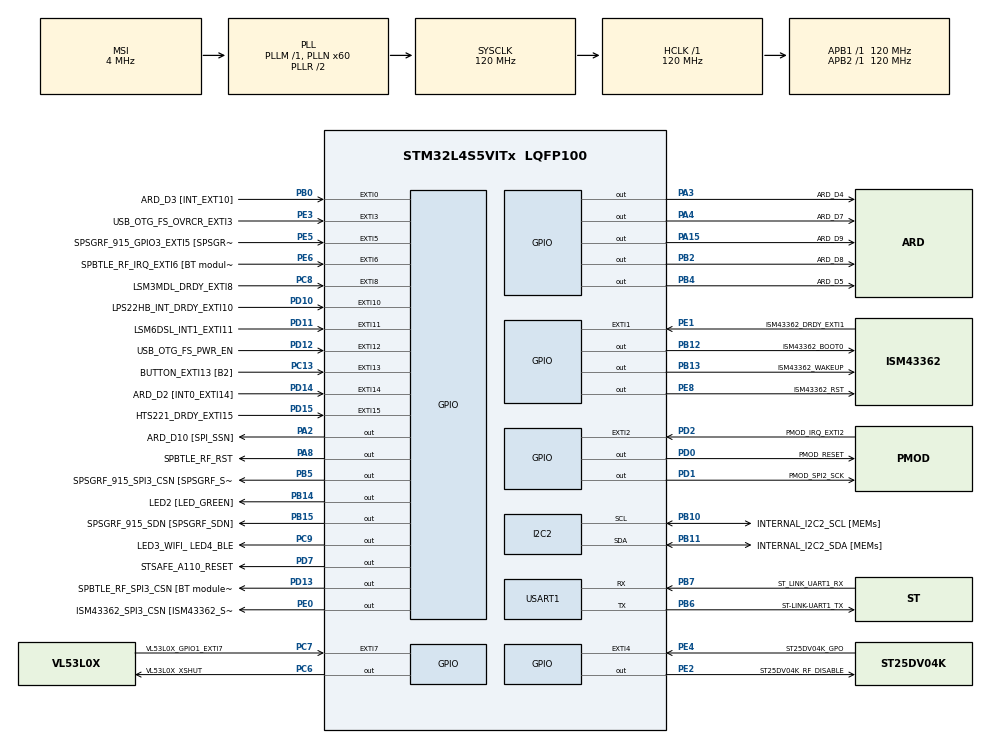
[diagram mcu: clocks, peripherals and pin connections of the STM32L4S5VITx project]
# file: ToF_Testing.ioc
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I2C2.Timing=0x307075B1
Mcu.Family=STM32L4
Mcu.Name=STM32L4S5VITx
Mcu.Package=LQFP100
NVIC.EXTI15_10_IRQn=true\:0\:0\:false\:false\:true\:true\:true\:true
NVIC.EXTI9_5_IRQn=true\:0\:0\:false\:false\:true\:true\:true\:true
NVIC.PriorityGroup=NVIC_PRIORITYGROUP_4
NVIC.USART1_IRQn=true\:0\:0\:false\:false\:true\:true\:true\:true
PA0.GPIO_Label=ARD_D1 [UART4_TX]
PA0.GPIO_ModeDefaultPP=GPIO_MODE_AF_PP
PA0.GPIO_PuPd=GPIO_NOPULL
PA0.GPIO_Speed=GPIO_SPEED_FREQ_VERY_HIGH
PA0.Signal=UART4_TX
PA1.GPIO_Label=ARD_D0 [UART4_RX]
PA1.GPIO_ModeDefaultPP=GPIO_MODE_AF_PP
PA1.GPIO_PuPd=GPIO_NOPULL
PA1.GPIO_Speed=GPIO_SPEED_FREQ_VERY_HIGH
PA1.Signal=UART4_RX
PA13\ (JTMS/SWDIO).GPIO_Label=SYS_JTMS_SWDIO
PA13\ (JTMS/SWDIO).Signal=SYS_JTMS-SWDIO
PA14\ (JTCK/SWCLK).GPIO_Label=SYS_JTCK_SWCLK
PA14\ (JTCK/SWCLK).Signal=SYS_JTCK-SWCLK
PA15\ (JTDI).GPIO_Label=ARD_D9
PA15\ (JTDI).GPIO_ModeDefaultOutputPP=GPIO_MODE_OUTPUT_PP
PA15\ (JTDI).GPIO_PuPd=GPIO_NOPULL
PA15\ (JTDI).GPIO_Speed=GPIO_SPEED_FREQ_LOW
PA15\ (JTDI).PinState=GPIO_PIN_RESET
PA15\ (JTDI).Signal=GPIO_Output
PA2.GPIO_Label=ARD_D10 [SPI_SSN]
PA2.GPIO_ModeDefaultOutputPP=GPIO_MODE_OUTPUT_PP
PA2.GPIO_PuPd=GPIO_NOPULL
PA2.GPIO_Speed=GPIO_SPEED_FREQ_LOW
PA2.PinState=GPIO_PIN_RESET
PA2.Signal=GPIO_Output
PA3.GPIO_Label=ARD_D4
PA3.Signal=GPIO_Output
PA4.GPIO_Label=ARD_D7
PA4.Signal=GPIO_Output
PA5.GPIO_Label=ARD_D13 [SPI1_SCK/LED1]
PA5.GPIO_Mode=GPIO_MODE_AF_PP
PA5.GPIO_PuPd=GPIO_NOPULL
PA5.GPIO_Speed=GPIO_SPEED_FREQ_VERY_HIGH
PA5.Signal=SPI1_SCK
PA6.GPIO_Label=ARD_D12 [SPI1_MISO]
PA6.GPIO_Mode=GPIO_MODE_AF_PP
PA6.GPIO_PuPd=GPIO_NOPULL
PA6.GPIO_Speed=GPIO_SPEED_FREQ_VERY_HIGH
PA6.Signal=SPI1_MISO
PA7.GPIO_Label=ARD_D11 [SPI1_MOSI]
PA7.GPIO_Mode=GPIO_MODE_AF_PP
PA7.GPIO_PuPd=GPIO_NOPULL
PA7.GPIO_Speed=GPIO_SPEED_FREQ_VERY_HIGH
PA7.Signal=SPI1_MOSI
PA8.GPIO_Label=SPBTLE_RF_RST
PA8.GPIO_ModeDefaultOutputPP=GPIO_MODE_OUTPUT_PP
PA8.GPIO_PuPd=GPIO_NOPULL
PA8.GPIO_Speed=GPIO_SPEED_FREQ_LOW
PA8.PinState=GPIO_PIN_RESET
PA8.Signal=GPIO_Output
PA9.GPIO_Label=USB_OTG_FS_VBUS
PA9.GPIO_Mode=GPIO_MODE_INPUT
PA9.GPIO_PuPd=GPIO_NOPULL
PA9.Signal=USB_OTG_FS_VBUS
PB0.GPIO_Label=ARD_D3 [INT_EXT10]
PB0.GPIO_ModeDefaultEXTI=GPIO_MODE_IT_RISING
PB0.GPIO_PuPd=GPIO_NOPULL
PB0.Signal=GPXTI0
PB1.GPIO_Label=ARD_D6
PB1.GPIO_Speed=GPIO_SPEED_FREQ_LOW
PB1.Signal=S_TIM3_CH4
PB10.GPIO_Label=INTERNAL_I2C2_SCL [MEMs]
PB10.GPIO_Mode=GPIO_MODE_AF_OD
PB10.GPIO_PuPdOD=GPIO_PULLUP
PB10.GPIO_Speed=GPIO_SPEED_FREQ_VERY_HIGH
PB10.Mode=I2C
PB10.Signal=I2C2_SCL
PB11.GPIO_Label=INTERNAL_I2C2_SDA [MEMs]
PB11.GPIO_Mode=GPIO_MODE_AF_OD
PB11.GPIO_PuPdOD=GPIO_PULLUP
PB11.GPIO_Speed=GPIO_SPEED_FREQ_VERY_HIGH
PB11.Mode=I2C
PB11.Signal=I2C2_SDA
PB12.GPIO_Label=ISM43362_BOOT0
PB12.GPIO_ModeDefaultOutputPP=GPIO_MODE_OUTPUT_PP
PB12.GPIO_PuPd=GPIO_NOPULL
PB12.GPIO_Speed=GPIO_SPEED_FREQ_LOW
PB12.PinState=GPIO_PIN_RESET
PB12.Signal=GPIO_Output
PB13.GPIO_Label=ISM43362_WAKEUP
PB13.GPIO_ModeDefaultOutputPP=GPIO_MODE_OUTPUT_PP
PB13.GPIO_PuPd=GPIO_NOPULL
PB13.GPIO_Speed=GPIO_SPEED_FREQ_LOW
PB13.PinState=GPIO_PIN_RESET
PB13.Signal=GPIO_Output
PB14.GPIO_Label=LED2 [LED_GREEN]
PB14.GPIO_ModeDefaultOutputPP=GPIO_MODE_OUTPUT_PP
PB14.GPIO_PuPd=GPIO_NOPULL
PB14.GPIO_Speed=GPIO_SPEED_FREQ_LOW
PB14.PinState=GPIO_PIN_RESET
PB14.Signal=GPIO_Output
PB15.GPIO_Label=SPSGRF_915_SDN [SPSGRF_SDN]
PB15.Signal=GPIO_Output
PB2.GPIO_Label=ARD_D8
PB2.GPIO_ModeDefaultOutputPP=GPIO_MODE_OUTPUT_PP
PB2.GPIO_PuPd=GPIO_NOPULL
PB2.GPIO_Speed=GPIO_SPEED_FREQ_LOW
PB2.PinState=GPIO_PIN_RESET
PB2.Signal=GPIO_Output
PB3\ (JTDO/TRACESWO).GPIO_Label=SYS_JTD0_SWO
PB3\ (JTDO/TRACESWO).Signal=SYS_JTDO-SWO
PB4\ (NJTRST).GPIO_Label=ARD_D5
PB4\ (NJTRST).GPIO_ModeDefaultOutputPP=GPIO_MODE_OUTPUT_PP
PB4\ (NJTRST).GPIO_PuPd=GPIO_NOPULL
PB4\ (NJTRST).GPIO_Speed=GPIO_SPEED_FREQ_LOW
PB4\ (NJTRST).PinState=GPIO_PIN_RESET
PB4\ (NJTRST).Signal=GPIO_Output
PB5.GPIO_Label=SPSGRF_915_SPI3_CSN [SPSGRF_SPI_CS]
PB5.Signal=GPIO_Output
PB6.GPIO_FM6=__NULL
PB6.GPIO_Label=ST-LINK-UART1_TX
PB6.GPIO_ModeDefaultPP=GPIO_MODE_AF_PP
PB6.GPIO_PuPd=GPIO_NOPULL
PB6.GPIO_Speed=GPIO_SPEED_FREQ_VERY_HIGH
PB6.Mode=Asynchronous
PB6.Signal=USART1_TX
PB7.GPIO_FM7=__NULL
PB7.GPIO_Label=ST_LINK_UART1_RX
PB7.GPIO_ModeDefaultPP=GPIO_MODE_AF_PP
PB7.GPIO_PuPd=GPIO_NOPULL
PB7.GPIO_Speed=GPIO_SPEED_FREQ_VERY_HIGH
PB7.Mode=Asynchronous
PB7.Signal=USART1_RX
PB8.GPIO_FM8=__NULL
PB8.GPIO_Label=ARD_D15 [I2C1_SCL]
PB8.GPIO_Mode=GPIO_MODE_AF_OD
PB8.GPIO_PuPdOD=GPIO_PULLUP
PB8.GPIO_Speed=GPIO_SPEED_FREQ_VERY_HIGH
PB8.Signal=I2C1_SCL
PB9.GPIO_FM9=__NULL
PB9.GPIO_Label=ARD_D14 [I2C1_SDA]
PB9.GPIO_Mode=GPIO_MODE_AF_OD
PB9.GPIO_PuPdOD=GPIO_PULLUP
PB9.GPIO_Speed=GPIO_SPEED_FREQ_VERY_HIGH
PB9.Signal=I2C1_SDA
PC0.GPIO_Label=ARD_A5 [ADC]
PC0.GPIO_Mode=GPIO_MODE_ANALOG_ADC_CONTROL
PC0.GPIO_PuPd=GPIO_NOPULL
PC0.Signal=ADCx_IN1
PC1.GPIO_Label=ARD_A4 [ADC]
PC1.GPIO_Mode=GPIO_MODE_ANALOG_ADC_CONTROL
PC1.GPIO_PuPd=GPIO_NOPULL
PC1.Signal=ADCx_IN2
PC10.GPIO_Label=INTERNAL-SPI3_SCK [BT module_SPI_MOSI] [ISM43362_MOSI]
PC10.GPIO_Mode=GPIO_MODE_AF_PP
PC10.GPIO_PuPd=GPIO_NOPULL
PC10.GPIO_Speed=GPIO_SPEED_FREQ_VERY_HIGH
PC10.Signal=SPI3_SCK
PC11.GPIO_Label=INTERNAL_SPI3_MISO [BT module_SPI_MOSI] [ISM43362_MOSI]
PC11.GPIO_Mode=GPIO_MODE_AF_PP
PC11.GPIO_PuPd=GPIO_NOPULL
PC11.GPIO_Speed=GPIO_SPEED_FREQ_VERY_HIGH
PC11.Signal=SPI3_MISO
PC12.GPIO_Label=INTERNAL_SPI3_MOSI [BT module_SPI_MOSI] [ISM43362_MOSI]
PC12.GPIO_Mode=GPIO_MODE_AF_PP
PC12.GPIO_PuPd=GPIO_NOPULL
PC12.GPIO_Speed=GPIO_SPEED_FREQ_VERY_HIGH
PC12.Signal=SPI3_MOSI
PC13.GPIO_Label=BUTTON_EXTI13 [B2]
PC13.GPIO_ModeDefaultEXTI=GPIO_MODE_IT_RISING
PC13.GPIO_PuPd=GPIO_NOPULL
PC13.Signal=GPXTI13
PC2.GPIO_Label=ARD_A3 [ADC]
PC2.GPIO_Mode=GPIO_MODE_ANALOG_ADC_CONTROL
PC2.GPIO_PuPd=GPIO_NOPULL
PC2.Signal=ADCx_IN3
PC3.GPIO_Label=ARD_A2 [ADC]
PC3.GPIO_Mode=GPIO_MODE_ANALOG_ADC_CONTROL
PC3.GPIO_PuPd=GPIO_NOPULL
PC3.Signal=ADCx_IN4
PC4.GPIO_Label=ARD_A1 [ADC]
PC4.GPIO_Mode=GPIO_MODE_ANALOG_ADC_CONTROL
PC4.GPIO_PuPd=GPIO_NOPULL
PC4.Signal=ADCx_IN13
PC5.GPIO_Label=ARD_A0 [ADC]
PC5.GPIO_Mode=GPIO_MODE_ANALOG_ADC_CONTROL
PC5.GPIO_PuPd=GPIO_NOPULL
PC5.Signal=ADCx_IN14
PC6.GPIO_Label=VL53L0X_XSHUT
PC6.GPIO_ModeDefaultOutputPP=GPIO_MODE_OUTPUT_PP
PC6.GPIO_PuPd=GPIO_NOPULL
PC6.GPIO_Speed=GPIO_SPEED_FREQ_LOW
PC6.PinState=GPIO_PIN_RESET
PC6.Signal=GPIO_Output
PC7.GPIO_Label=VL53L0X_GPIO1_EXTI7
PC7.GPIO_ModeDefaultEXTI=GPIO_MODE_IT_RISING
PC7.GPIO_PuPd=GPIO_NOPULL
PC7.Signal=GPXTI7
PC8.GPIO_Label=LSM3MDL_DRDY_EXTI8
PC8.GPIO_ModeDefaultEXTI=GPIO_MODE_IT_RISING
PC8.GPIO_PuPd=GPIO_NOPULL
PC8.Signal=GPXTI8
PC9.GPIO_Label=LED3_WIFI_ LED4_BLE
PC9.GPIO_ModeDefaultOutputPP=GPIO_MODE_OUTPUT_PP
PC9.GPIO_PuPd=GPIO_NOPULL
PC9.GPIO_Speed=GPIO_SPEED_FREQ_LOW
PC9.PinState=GPIO_PIN_RESET
PC9.Signal=GPIO_Output
PD0.GPIO_Label=PMOD_RESET
PD0.GPIO_ModeDefaultOutputPP=GPIO_MODE_OUTPUT_PP
PD0.GPIO_PuPd=GPIO_NOPULL
PD0.GPIO_Speed=GPIO_SPEED_FREQ_LOW
PD0.PinState=GPIO_PIN_RESET
PD0.Signal=GPIO_Output
PD1.GPIO_Label=PMOD_SPI2_SCK
PD1.Signal=GPIO_Output
PD10.GPIO_Label=LPS22HB_INT_DRDY_EXTI10
PD10.GPIO_ModeDefaultEXTI=GPIO_MODE_IT_RISING
PD10.GPIO_PuPd=GPIO_NOPULL
PD10.Signal=GPXTI10
PD11.GPIO_Label=LSM6DSL_INT1_EXTI11
PD11.GPIO_ModeDefaultEXTI=GPIO_MODE_IT_RISING
PD11.GPIO_PuPd=GPIO_NOPULL
PD11.Signal=GPXTI11
PD12.GPIO_Label=USB_OTG_FS_PWR_EN
PD12.GPIO_ModeDefaultEXTI=GPIO_MODE_IT_RISING
PD12.GPIO_PuPd=GPIO_NOPULL
PD12.Signal=GPXTI12
PD13.GPIO_Label=SPBTLE_RF_SPI3_CSN [BT module_SPI_CS]
PD13.GPIO_ModeDefaultOutputPP=GPIO_MODE_OUTPUT_PP
PD13.GPIO_PuPd=GPIO_NOPULL
PD13.GPIO_Speed=GPIO_SPEED_FREQ_LOW
PD13.PinState=GPIO_PIN_RESET
PD13.Signal=GPIO_Output
PD14.GPIO_Label=ARD_D2 [INT0_EXTI14]
PD14.GPIO_ModeDefaultEXTI=GPIO_MODE_IT_RISING
PD14.GPIO_PuPd=GPIO_NOPULL
PD14.Signal=GPXTI14
PD15.GPIO_Label=HTS221_DRDY_EXTI15
PD15.GPIO_ModeDefaultEXTI=GPIO_MODE_IT_RISING
PD15.GPIO_PuPd=GPIO_NOPULL
PD15.Signal=GPXTI15
PD2.GPIO_Label=PMOD_IRQ_EXTI2
PD2.GPIO_ModeDefaultEXTI=GPIO_MODE_IT_RISING
PD2.GPIO_PuPd=GPIO_NOPULL
PD2.Signal=GPXTI2
PD3.GPIO_Label=PMOD_UART2_CTS
PD3.GPIO_Mode=GPIO_MODE_AF_PP
PD3.GPIO_PuPd=GPIO_NOPULL
PD3.GPIO_Speed=GPIO_SPEED_FREQ_VERY_HIGH
PD3.Signal=USART2_CTS
PD4.GPIO_Label=PMOD_UART2_RTS
PD4.GPIO_Mode=GPIO_MODE_AF_PP
PD4.GPIO_PuPd=GPIO_NOPULL
PD4.GPIO_Speed=GPIO_SPEED_FREQ_VERY_HIGH
PD4.Signal=USART2_RTS
PD5.GPIO_Label=PMOD_UART2_TX
PD5.GPIO_ModeDefaultPP=GPIO_MODE_AF_PP
PD5.GPIO_PuPd=GPIO_NOPULL
PD5.GPIO_Speed=GPIO_SPEED_FREQ_VERY_HIGH
PD5.Signal=USART2_TX
PD6.GPIO_Label=PMOD_UART2_RX
PD6.GPIO_ModeDefaultPP=GPIO_MODE_AF_PP
PD6.GPIO_PuPd=GPIO_NOPULL
PD6.GPIO_Speed=GPIO_SPEED_FREQ_VERY_HIGH
PD6.Signal=USART2_RX
PD7.GPIO_Label=STSAFE_A110_RESET
PD7.GPIO_ModeDefaultOutputPP=GPIO_MODE_OUTPUT_PP
PD7.GPIO_PuPd=GPIO_NOPULL
PD7.GPIO_Speed=GPIO_SPEED_FREQ_LOW
PD7.PinState=GPIO_PIN_RESET
PD7.Signal=GPIO_Output
PD8.GPIO_Label=INTERNAL_UART3_TX [ISM43362_RX]
PD8.GPIO_ModeDefaultPP=GPIO_MODE_AF_PP
PD8.GPIO_PuPd=GPIO_NOPULL
PD8.GPIO_Speed=GPIO_SPEED_FREQ_VERY_HIGH
PD8.Signal=USART3_TX
PD9.GPIO_Label=INTERNAL_UART3_RX [ISM43362_TX]
PD9.GPIO_ModeDefaultPP=GPIO_MODE_AF_PP
PD9.GPIO_PuPd=GPIO_NOPULL
PD9.GPIO_Speed=GPIO_SPEED_FREQ_VERY_HIGH
PD9.Signal=USART3_RX
PE0.GPIO_Label=ISM43362_SPI3_CSN [ISM43362_SSN]
PE0.GPIO_ModeDefaultOutputPP=GPIO_MODE_OUTPUT_PP
PE0.GPIO_PuPd=GPIO_NOPULL
PE0.GPIO_Speed=GPIO_SPEED_FREQ_LOW
PE0.PinState=GPIO_PIN_RESET
PE0.Signal=GPIO_Output
PE1.GPIO_Label=ISM43362_DRDY_EXTI1
PE1.GPIO_ModeDefaultEXTI=GPIO_MODE_IT_RISING
PE1.GPIO_PuPd=GPIO_NOPULL
PE1.Signal=GPXTI1
PE10.GPIO_Label=QUADSPI_CLK [MX25R6435F_SCLK]
PE10.GPIO_Mode=GPIO_MODE_AF_PP
PE10.GPIO_PuPd=GPIO_NOPULL
PE10.GPIO_Speed_High_Default=GPIO_SPEED_FREQ_VERY_HIGH
PE10.Signal=OCTOSPIM_P1_CLK
PE11.GPIO_Label=QUADSPI_NCS [MX25R6435F_SCLK]
PE11.GPIO_Mode=GPIO_MODE_AF_PP
PE11.GPIO_PuPd=GPIO_NOPULL
PE11.GPIO_Speed_High_Default=GPIO_SPEED_FREQ_VERY_HIGH
PE11.Signal=OCTOSPIM_P1_NCS
PE12.GPIO_Label=OQUADSPI_BK1_IO0 [MX25R6435F_IO0]
PE12.GPIO_Mode=GPIO_MODE_AF_PP
PE12.GPIO_PuPd=GPIO_NOPULL
PE12.GPIO_Speed_High_Default=GPIO_SPEED_FREQ_VERY_HIGH
PE12.Signal=OCTOSPIM_P1_IO0
PE13.GPIO_Label=QUADSPI_BK1_IO1 [MX25R6435F_IO1]
PE13.GPIO_Mode=GPIO_MODE_AF_PP
PE13.GPIO_PuPd=GPIO_NOPULL
PE13.GPIO_Speed_High_Default=GPIO_SPEED_FREQ_VERY_HIGH
PE13.Signal=OCTOSPIM_P1_IO1
PE14.GPIO_Label=QUAD_SPI_BK1_IO2 [MX25R6435F_IO2]
PE14.GPIO_Mode=GPIO_MODE_AF_PP
PE14.GPIO_PuPd=GPIO_NOPULL
PE14.GPIO_Speed_High_Default=GPIO_SPEED_FREQ_VERY_HIGH
PE14.Signal=OCTOSPIM_P1_IO2
PE15.GPIO_Label=QUAD_SPI_BK1_IO3 [MX25R6435F_IO3]
PE15.GPIO_Mode=GPIO_MODE_AF_PP
PE15.GPIO_PuPd=GPIO_NOPULL
PE15.GPIO_Speed_High_Default=GPIO_SPEED_FREQ_VERY_HIGH
PE15.Signal=OCTOSPIM_P1_IO3
PE2.GPIO_Label=ST25DV04K_RF_DISABLE
PE2.GPIO_ModeDefaultOutputPP=GPIO_MODE_OUTPUT_PP
PE2.GPIO_PuPd=GPIO_NOPULL
PE2.GPIO_Speed=GPIO_SPEED_FREQ_LOW
PE2.PinState=GPIO_PIN_RESET
PE2.Signal=GPIO_Output
PE3.GPIO_Label=USB_OTG_FS_OVRCR_EXTI3
PE3.GPIO_ModeDefaultEXTI=GPIO_MODE_IT_RISING
PE3.GPIO_PuPd=GPIO_NOPULL
PE3.Signal=GPXTI3
PE4.GPIO_Label=ST25DV04K_GPO
PE4.GPIO_ModeDefaultEXTI=GPIO_MODE_IT_RISING
PE4.GPIO_PuPd=GPIO_NOPULL
PE4.Signal=GPXTI4
PE5.GPIO_Label=SPSGRF_915_GPIO3_EXTI5 [SPSGRF_GPIO_3]
PE5.Signal=GPXTI5
PE6.GPIO_Label=SPBTLE_RF_IRQ_EXTI6 [BT module_SPI_IRQ]
PE6.GPIO_ModeDefaultEXTI=GPIO_MODE_IT_RISING
PE6.GPIO_PuPd=GPIO_NOPULL
PE6.Signal=GPXTI6
PE7.GPIO_Label=DFSDM1_DATIN2 [MP34DT01_DOUT]
PE7.GPIO_Mode=GPIO_MODE_AF_PP
PE7.GPIO_PuPd=GPIO_NOPULL
PE7.GPIO_Speed=GPIO_SPEED_FREQ_LOW
PE7.Signal=S_DATAIN2DFSDM1
PE8.GPIO_Label=ISM43362_RST
PE8.GPIO_ModeDefaultOutputPP=GPIO_MODE_OUTPUT_PP
PE8.GPIO_PuPd=GPIO_NOPULL
PE8.GPIO_Speed=GPIO_SPEED_FREQ_LOW
PE8.PinState=GPIO_PIN_RESET
PE8.Signal=GPIO_Output
PE9.GPIO_Label=DFSDM1_CKOUT [MP34DT01_CLK]
PE9.GPIO_Mode=GPIO_MODE_AF_PP
PE9.GPIO_PuPd=GPIO_NOPULL
PE9.GPIO_Speed=GPIO_SPEED_FREQ_LOW
PE9.Signal=S_CKOUTDFSDM1
ProjectManager.HeapSize=0x200
ProjectManager.StackSize=0x400
ProjectManager.TargetToolchain=STM32CubeIDE
RCC.ADCFreq_Value=48000000
RCC.AHBFreq_Value=120000000
RCC.APB1Freq_Value=120000000
RCC.APB1TimFreq_Value=120000000
RCC.APB2Freq_Value=120000000
RCC.APB2TimFreq_Value=120000000
RCC.CortexFreq_Value=120000000
RCC.HCLKFreq_Value=120000000
RCC.HSE_VALUE=8000000
RCC.HSI48_VALUE=48000000
RCC.HSI_VALUE=16000000
RCC.LSE_VALUE=32768
RCC.MSI_VALUE=4000000
RCC.PLLN=60
RCC.PLLSAI1N=24
RCC.SYSCLKFreq_VALUE=120000000
RCC.SYSCLKSource=RCC_SYSCLKSOURCE_PLLCLK
RCC.USBFreq_Value=48000000
RCC.VCOOutputFreq_Value=240000000
SH.ADCx_IN1.0=ADC1_IN1
SH.ADCx_IN13.0=ADC1_IN13
SH.ADCx_IN14.0=ADC1_IN14
SH.ADCx_IN2.0=ADC1_IN2
SH.ADCx_IN3.0=ADC1_IN3
SH.ADCx_IN4.0=ADC1_IN4
SH.S_CKOUTDFSDM1.0=DFSDM1_CKOUT
SH.S_DATAIN2DFSDM1.0=DFSDM1_DATIN2
SH.S_TIM3_CH4.0=TIM3_CH4
USART1.VirtualMode-Asynchronous=VM_ASYNC
board=B-L4S5I-IOT01A

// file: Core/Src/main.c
/* USER CODE BEGIN Header */
/**
  ******************************************************************************
  * @file           : main.c
  * @brief          : Main program body
  ******************************************************************************
  * @attention
  *
  * Copyright (c) 2023 STMicroelectronics.
  * All rights reserved.
  *
  * This software is licensed under terms that can be found in the LICENSE file
  * in the root directory of this software component.
  * If no LICENSE file comes with this software, it is provided AS-IS.
  *
  ******************************************************************************
  */
/* USER CODE END Header */
#include "main.h"

/* USER CODE BEGIN PD */
#define PROXIMITY_I2C_ADDRESS 0x52
#define VL53L0X_ID 0xeeaa
/* USER CODE END PD */

I2C_HandleTypeDef hi2c2;

UART_HandleTypeDef huart1;

/* USER CODE BEGIN PV */
extern I2C_HandleTypeDef hI2cHandler;
VL53L0X_Dev_t Dev =
{
  .I2cHandle = &hI2cHandler,
  .I2cDevAddr = PROXIMITY_I2C_ADDRESS
};
uint16_t dist =0;
char UART1_rxBuffer[1];
char UART1_txBuffer[16] = {0};
uint8_t mode='d';
/* USER CODE END PV */

void SystemClock_Config(void);
static void MX_GPIO_Init(void);
static void MX_I2C2_Init(void);
static void MX_USART1_UART_Init(void);
/* USER CODE BEGIN PFP */

static void VL53L0X_PROXIMITY_MspInit(void);
static uint16_t VL53L0X_PROXIMITY_GetDistance(void);
static void VL53L0X_PROXIMITY_Init(void);
void display_distance(void);
/* USER CODE END PFP */

int main(void)
{

  /* MCU Configuration--------------------------------------------------------*/

  /* Reset of all peripherals, Initializes the Flash interface and the Systick. */
  HAL_Init();

  /* Configure the system clock */
  SystemClock_Config();

  /* Initialize all configured peripherals */
  MX_GPIO_Init();
  MX_I2C2_Init();
  MX_USART1_UART_Init();
  /* USER CODE BEGIN 2 */
  VL53L0X_PROXIMITY_Init();
  HAL_UART_Receive_IT(&huart1, UART1_rxBuffer, sizeof(UART1_rxBuffer));
  /* USER CODE END 2 */

  /* Infinite loop */
  /* USER CODE BEGIN WHILE */

  char msgID[] = "Device id: 00000\r\n";

  uint16_t vID;
  VL53L0X_RdWord(&Dev, VL53L0X_REG_IDENTIFICATION_MODEL_ID, &vID);

  msgID[11] += (vID % 100000) / 10000;
  msgID[12] += (vID % 10000) / 1000;
  msgID[13] += (vID % 1000) / 100;
  msgID[14] += (vID % 100) / 10;
  msgID[15] += (vID % 10);

  HAL_UART_Transmit_IT(&huart1, (uint8_t*)msgID, sizeof(msgID));
  HAL_UART_Transmit(&huart1, UART1_txBuffer, sizeof(UART1_txBuffer), 100);
  while (1)
  {
    /* USER CODE END WHILE */

    /* USER CODE BEGIN 3 */
	  display_distance();
  }
  /* USER CODE END 3 */
}

void SystemClock_Config(void)
{
  RCC_OscInitTypeDef RCC_OscInitStruct = {0};
  RCC_ClkInitTypeDef RCC_ClkInitStruct = {0};

  /** Configure the main internal regulator output voltage
  */
  if (HAL_PWREx_ControlVoltageScaling(PWR_REGULATOR_VOLTAGE_SCALE1_BOOST) != HAL_OK)
  {
    Error_Handler();
  }

  /** Initializes the RCC Oscillators according to the specified parameters
  * in the RCC_OscInitTypeDef structure.
  */
  RCC_OscInitStruct.OscillatorType = RCC_OSCILLATORTYPE_MSI;
  RCC_OscInitStruct.MSIState = RCC_MSI_ON;
  RCC_OscInitStruct.MSICalibrationValue = 0;
  RCC_OscInitStruct.MSIClockRange = RCC_MSIRANGE_6;
  RCC_OscInitStruct.PLL.PLLState = RCC_PLL_ON;
  RCC_OscInitStruct.PLL.PLLSource = RCC_PLLSOURCE_MSI;
  RCC_OscInitStruct.PLL.PLLM = 1;
  RCC_OscInitStruct.PLL.PLLN = 60;
  RCC_OscInitStruct.PLL.PLLP = RCC_PLLP_DIV2;
  RCC_OscInitStruct.PLL.PLLQ = RCC_PLLQ_DIV2;
  RCC_OscInitStruct.PLL.PLLR = RCC_PLLR_DIV2;
  if (HAL_RCC_OscConfig(&RCC_OscInitStruct) != HAL_OK)
  {
    Error_Handler();
  }

  /** Initializes the CPU, AHB and APB buses clocks
  */
  RCC_ClkInitStruct.ClockType = RCC_CLOCKTYPE_HCLK|RCC_CLOCKTYPE_SYSCLK
                              |RCC_CLOCKTYPE_PCLK1|RCC_CLOCKTYPE_PCLK2;
  RCC_ClkInitStruct.SYSCLKSource = RCC_SYSCLKSOURCE_PLLCLK;
  RCC_ClkInitStruct.AHBCLKDivider = RCC_SYSCLK_DIV1;
  RCC_ClkInitStruct.APB1CLKDivider = RCC_HCLK_DIV1;
  RCC_ClkInitStruct.APB2CLKDivider = RCC_HCLK_DIV1;

  if (HAL_RCC_ClockConfig(&RCC_ClkInitStruct, FLASH_LATENCY_5) != HAL_OK)
  {
    Error_Handler();
  }
}

static void MX_I2C2_Init(void)
{

  hi2c2.Instance = I2C2;
  hi2c2.Init.Timing = 0x307075B1;
  hi2c2.Init.OwnAddress1 = 0;
  hi2c2.Init.AddressingMode = I2C_ADDRESSINGMODE_7BIT;
  hi2c2.Init.DualAddressMode = I2C_DUALADDRESS_DISABLE;
  hi2c2.Init.OwnAddress2 = 0;
  hi2c2.Init.OwnAddress2Masks = I2C_OA2_NOMASK;
  hi2c2.Init.GeneralCallMode = I2C_GENERALCALL_DISABLE;
  hi2c2.Init.NoStretchMode = I2C_NOSTRETCH_DISABLE;
  if (HAL_I2C_Init(&hi2c2) != HAL_OK)
  {
    Error_Handler();
  }

  /** Configure Analogue filter
  */
  if (HAL_I2CEx_ConfigAnalogFilter(&hi2c2, I2C_ANALOGFILTER_ENABLE) != HAL_OK)
  {
    Error_Handler();
  }

  /** Configure Digital filter
  */
  if (HAL_I2CEx_ConfigDigitalFilter(&hi2c2, 0) != HAL_OK)
  {
    Error_Handler();
  }

}

static void MX_USART1_UART_Init(void)
{

  huart1.Instance = USART1;
  huart1.Init.BaudRate = 115200;
  huart1.Init.WordLength = UART_WORDLENGTH_8B;
  huart1.Init.StopBits = UART_STOPBITS_1;
  huart1.Init.Parity = UART_PARITY_NONE;
  huart1.Init.Mode = UART_MODE_TX_RX;
  huart1.Init.HwFlowCtl = UART_HWCONTROL_NONE;
  huart1.Init.OverSampling = UART_OVERSAMPLING_16;
  huart1.Init.OneBitSampling = UART_ONE_BIT_SAMPLE_DISABLE;
  huart1.Init.ClockPrescaler = UART_PRESCALER_DIV1;
  huart1.AdvancedInit.AdvFeatureInit = UART_ADVFEATURE_NO_INIT;
  if (HAL_UART_Init(&huart1) != HAL_OK)
  {
    Error_Handler();
  }
  if (HAL_UARTEx_SetTxFifoThreshold(&huart1, UART_TXFIFO_THRESHOLD_1_8) != HAL_OK)
  {
    Error_Handler();
  }
  if (HAL_UARTEx_SetRxFifoThreshold(&huart1, UART_RXFIFO_THRESHOLD_1_8) != HAL_OK)
  {
    Error_Handler();
  }
  if (HAL_UARTEx_DisableFifoMode(&huart1) != HAL_OK)
  {
    Error_Handler();
  }

}

static void MX_GPIO_Init(void)
{
  GPIO_InitTypeDef GPIO_InitStruct = {0};

  /* GPIO Ports Clock Enable */
  __HAL_RCC_GPIOE_CLK_ENABLE();
  __HAL_RCC_GPIOC_CLK_ENABLE();
  __HAL_RCC_GPIOA_CLK_ENABLE();
  __HAL_RCC_GPIOB_CLK_ENABLE();
  __HAL_RCC_GPIOD_CLK_ENABLE();

  /*Configure GPIO pin Output Level */
  HAL_GPIO_WritePin(GPIOE, ST25DV04K_RF_DISABLE_Pin|ISM43362_RST_Pin|ISM43362_SPI3_CSN_Pin, GPIO_PIN_RESET);

  /*Configure GPIO pin Output Level */
  HAL_GPIO_WritePin(GPIOA, ARD_D10_Pin|ARD_D4_Pin|ARD_D7_Pin|SPBTLE_RF_RST_Pin
                          |ARD_D9_Pin, GPIO_PIN_RESET);

  /*Configure GPIO pin Output Level */
  HAL_GPIO_WritePin(GPIOB, ARD_D8_Pin|ISM43362_BOOT0_Pin|ISM43362_WAKEUP_Pin|LED2_Pin
                          |SPSGRF_915_SDN_Pin|ARD_D5_Pin|SPSGRF_915_SPI3_CSN_Pin, GPIO_PIN_RESET);

  /*Configure GPIO pin Output Level */
  HAL_GPIO_WritePin(GPIOD, SPBTLE_RF_SPI3_CSN_Pin|PMOD_RESET_Pin|PMOD_SPI2_SCK_Pin|STSAFE_A110_RESET_Pin, GPIO_PIN_RESET);

  /*Configure GPIO pin Output Level */
  HAL_GPIO_WritePin(GPIOC, VL53L0X_XSHUT_Pin|LED3_WIFI__LED4_BLE_Pin, GPIO_PIN_RESET);

  /*Configure GPIO pins : ST25DV04K_RF_DISABLE_Pin ISM43362_RST_Pin ISM43362_SPI3_CSN_Pin */
  GPIO_InitStruct.Pin = ST25DV04K_RF_DISABLE_Pin|ISM43362_RST_Pin|ISM43362_SPI3_CSN_Pin;
  GPIO_InitStruct.Mode = GPIO_MODE_OUTPUT_PP;
  GPIO_InitStruct.Pull = GPIO_NOPULL;
  GPIO_InitStruct.Speed = GPIO_SPEED_FREQ_LOW;
  HAL_GPIO_Init(GPIOE, &GPIO_InitStruct);

  /*Configure GPIO pins : USB_OTG_FS_OVRCR_EXTI3_Pin ST25DV04K_GPO_Pin SPSGRF_915_GPIO3_EXTI5_Pin SPBTLE_RF_IRQ_EXTI6_Pin
                           ISM43362_DRDY_EXTI1_Pin */
  GPIO_InitStruct.Pin = USB_OTG_FS_OVRCR_EXTI3_Pin|ST25DV04K_GPO_Pin|SPSGRF_915_GPIO3_EXTI5_Pin|SPBTLE_RF_IRQ_EXTI6_Pin
                          |ISM43362_DRDY_EXTI1_Pin;
  GPIO_InitStruct.Mode = GPIO_MODE_IT_RISING;
  GPIO_InitStruct.Pull = GPIO_NOPULL;
  HAL_GPIO_Init(GPIOE, &GPIO_InitStruct);

  /*Configure GPIO pins : BUTTON_EXTI13_Pin VL53L0X_GPIO1_EXTI7_Pin LSM3MDL_DRDY_EXTI8_Pin */
  GPIO_InitStruct.Pin = BUTTON_EXTI13_Pin|VL53L0X_GPIO1_EXTI7_Pin|LSM3MDL_DRDY_EXTI8_Pin;
  GPIO_InitStruct.Mode = GPIO_MODE_IT_RISING;
  GPIO_InitStruct.Pull = GPIO_NOPULL;
  HAL_GPIO_Init(GPIOC, &GPIO_InitStruct);

  /*Configure GPIO pins : ARD_A5_Pin ARD_A4_Pin ARD_A3_Pin ARD_A2_Pin
                           ARD_A1_Pin ARD_A0_Pin */
  GPIO_InitStruct.Pin = ARD_A5_Pin|ARD_A4_Pin|ARD_A3_Pin|ARD_A2_Pin
                          |ARD_A1_Pin|ARD_A0_Pin;
  GPIO_InitStruct.Mode = GPIO_MODE_ANALOG_ADC_CONTROL;
  GPIO_InitStruct.Pull = GPIO_NOPULL;
  HAL_GPIO_Init(GPIOC, &GPIO_InitStruct);

  /*Configure GPIO pins : ARD_D1_Pin ARD_D0_Pin */
  GPIO_InitStruct.Pin = ARD_D1_Pin|ARD_D0_Pin;
  GPIO_InitStruct.Mode = GPIO_MODE_AF_PP;
  GPIO_InitStruct.Pull = GPIO_NOPULL;
  GPIO_InitStruct.Speed = GPIO_SPEED_FREQ_VERY_HIGH;
  GPIO_InitStruct.Alternate = GPIO_AF8_UART4;
  HAL_GPIO_Init(GPIOA, &GPIO_InitStruct);

  /*Configure GPIO pins : ARD_D10_Pin ARD_D4_Pin ARD_D7_Pin SPBTLE_RF_RST_Pin
                           ARD_D9_Pin */
  GPIO_InitStruct.Pin = ARD_D10_Pin|ARD_D4_Pin|ARD_D7_Pin|SPBTLE_RF_RST_Pin
                          |ARD_D9_Pin;
  GPIO_InitStruct.Mode = GPIO_MODE_OUTPUT_PP;
  GPIO_InitStruct.Pull = GPIO_NOPULL;
  GPIO_InitStruct.Speed = GPIO_SPEED_FREQ_LOW;
  HAL_GPIO_Init(GPIOA, &GPIO_InitStruct);

  /*Configure GPIO pins : ARD_D13_Pin ARD_D12_Pin ARD_D11_Pin */
  GPIO_InitStruct.Pin = ARD_D13_Pin|ARD_D12_Pin|ARD_D11_Pin;
  GPIO_InitStruct.Mode = GPIO_MODE_AF_PP;
  GPIO_InitStruct.Pull = GPIO_NOPULL;
  GPIO_InitStruct.Speed = GPIO_SPEED_FREQ_VERY_HIGH;
  GPIO_InitStruct.Alternate = GPIO_AF5_SPI1;
  HAL_GPIO_Init(GPIOA, &GPIO_InitStruct);

  /*Configure GPIO pin : ARD_D3_Pin */
  GPIO_InitStruct.Pin = ARD_D3_Pin;
  GPIO_InitStruct.Mode = GPIO_MODE_IT_RISING;
  GPIO_InitStruct.Pull = GPIO_NOPULL;
  HAL_GPIO_Init(ARD_D3_GPIO_Port, &GPIO_InitStruct);

  /*Configure GPIO pin : ARD_D6_Pin */
  GPIO_InitStruct.Pin = ARD_D6_Pin;
  GPIO_InitStruct.Mode = GPIO_MODE_AF_PP;
  GPIO_InitStruct.Pull = GPIO_NOPULL;
  GPIO_InitStruct.Speed = GPIO_SPEED_FREQ_LOW;
  GPIO_InitStruct.Alternate = GPIO_AF2_TIM3;
  HAL_GPIO_Init(ARD_D6_GPIO_Port, &GPIO_InitStruct);

  /*Configure GPIO pins : ARD_D8_Pin ISM43362_BOOT0_Pin ISM43362_WAKEUP_Pin LED2_Pin
                           SPSGRF_915_SDN_Pin ARD_D5_Pin SPSGRF_915_SPI3_CSN_Pin */
  GPIO_InitStruct.Pin = ARD_D8_Pin|ISM43362_BOOT0_Pin|ISM43362_WAKEUP_Pin|LED2_Pin
                          |SPSGRF_915_SDN_Pin|ARD_D5_Pin|SPSGRF_915_SPI3_CSN_Pin;
  GPIO_InitStruct.Mode = GPIO_MODE_OUTPUT_PP;
  GPIO_InitStruct.Pull = GPIO_NOPULL;
  GPIO_InitStruct.Speed = GPIO_SPEED_FREQ_LOW;
  HAL_GPIO_Init(GPIOB, &GPIO_InitStruct);

  /*Configure GPIO pins : DFSDM1_DATIN2_Pin DFSDM1_CKOUT_Pin */
  GPIO_InitStruct.Pin = DFSDM1_DATIN2_Pin|DFSDM1_CKOUT_Pin;
  GPIO_InitStruct.Mode = GPIO_MODE_AF_PP;
  GPIO_InitStruct.Pull = GPIO_NOPULL;
  GPIO_InitStruct.Speed = GPIO_SPEED_FREQ_LOW;
  GPIO_InitStruct.Alternate = GPIO_AF6_DFSDM1;
  HAL_GPIO_Init(GPIOE, &GPIO_InitStruct);

  /*Configure GPIO pins : QUADSPI_CLK_Pin QUADSPI_NCS_Pin OQUADSPI_BK1_IO0_Pin QUADSPI_BK1_IO1_Pin
                           QUAD_SPI_BK1_IO2_Pin QUAD_SPI_BK1_IO3_Pin */
  GPIO_InitStruct.Pin = QUADSPI_CLK_Pin|QUADSPI_NCS_Pin|OQUADSPI_BK1_IO0_Pin|QUADSPI_BK1_IO1_Pin
                          |QUAD_SPI_BK1_IO2_Pin|QUAD_SPI_BK1_IO3_Pin;
  GPIO_InitStruct.Mode = GPIO_MODE_AF_PP;
  GPIO_InitStruct.Pull = GPIO_NOPULL;
  GPIO_InitStruct.Speed = GPIO_SPEED_FREQ_VERY_HIGH;
  GPIO_InitStruct.Alternate = GPIO_AF10_OCTOSPIM_P1;
  HAL_GPIO_Init(GPIOE, &GPIO_InitStruct);

  /*Configure GPIO pins : INTERNAL_UART3_TX_Pin INTERNAL_UART3_RX_Pin */
  GPIO_InitStruct.Pin = INTERNAL_UART3_TX_Pin|INTERNAL_UART3_RX_Pin;
  GPIO_InitStruct.Mode = GPIO_MODE_AF_PP;
  GPIO_InitStruct.Pull = GPIO_NOPULL;
  GPIO_InitStruct.Speed = GPIO_SPEED_FREQ_VERY_HIGH;
  GPIO_InitStruct.Alternate = GPIO_AF7_USART3;
  HAL_GPIO_Init(GPIOD, &GPIO_InitStruct);

  /*Configure GPIO pins : LPS22HB_INT_DRDY_EXTI10_Pin LSM6DSL_INT1_EXTI11_Pin USB_OTG_FS_PWR_EN_Pin ARD_D2_Pin
                           HTS221_DRDY_EXTI15_Pin PMOD_IRQ_EXTI2_Pin */
  GPIO_InitStruct.Pin = LPS22HB_INT_DRDY_EXTI10_Pin|LSM6DSL_INT1_EXTI11_Pin|USB_OTG_FS_PWR_EN_Pin|ARD_D2_Pin
                          |HTS221_DRDY_EXTI15_Pin|PMOD_IRQ_EXTI2_Pin;
  GPIO_InitStruct.Mode = GPIO_MODE_IT_RISING;
  GPIO_InitStruct.Pull = GPIO_NOPULL;
  HAL_GPIO_Init(GPIOD, &GPIO_InitStruct);

  /*Configure GPIO pins : SPBTLE_RF_SPI3_CSN_Pin PMOD_RESET_Pin PMOD_SPI2_SCK_Pin STSAFE_A110_RESET_Pin */
  GPIO_InitStruct.Pin = SPBTLE_RF_SPI3_CSN_Pin|PMOD_RESET_Pin|PMOD_SPI2_SCK_Pin|STSAFE_A110_RESET_Pin;
  GPIO_InitStruct.Mode = GPIO_MODE_OUTPUT_PP;
  GPIO_InitStruct.Pull = GPIO_NOPULL;
  GPIO_InitStruct.Speed = GPIO_SPEED_FREQ_LOW;
  HAL_GPIO_Init(GPIOD, &GPIO_InitStruct);

  /*Configure GPIO pins : VL53L0X_XSHUT_Pin LED3_WIFI__LED4_BLE_Pin */
  GPIO_InitStruct.Pin = VL53L0X_XSHUT_Pin|LED3_WIFI__LED4_BLE_Pin;
  GPIO_InitStruct.Mode = GPIO_MODE_OUTPUT_PP;
  GPIO_InitStruct.Pull = GPIO_NOPULL;
  GPIO_InitStruct.Speed = GPIO_SPEED_FREQ_LOW;
  HAL_GPIO_Init(GPIOC, &GPIO_InitStruct);

  /*Configure GPIO pin : USB_OTG_FS_VBUS_Pin */
  GPIO_InitStruct.Pin = USB_OTG_FS_VBUS_Pin;
  GPIO_InitStruct.Mode = GPIO_MODE_INPUT;
  GPIO_InitStruct.Pull = GPIO_NOPULL;
  HAL_GPIO_Init(USB_OTG_FS_VBUS_GPIO_Port, &GPIO_InitStruct);

  /*Configure GPIO pins : INTERNAL_SPI3_SCK_Pin INTERNAL_SPI3_MISO_Pin INTERNAL_SPI3_MOSI_Pin */
  GPIO_InitStruct.Pin = INTERNAL_SPI3_SCK_Pin|INTERNAL_SPI3_MISO_Pin|INTERNAL_SPI3_MOSI_Pin;
  GPIO_InitStruct.Mode = GPIO_MODE_AF_PP;
  GPIO_InitStruct.Pull = GPIO_NOPULL;
  GPIO_InitStruct.Speed = GPIO_SPEED_FREQ_VERY_HIGH;
  GPIO_InitStruct.Alternate = GPIO_AF6_SPI3;
  HAL_GPIO_Init(GPIOC, &GPIO_InitStruct);

  /*Configure GPIO pins : PMOD_UART2_CTS_Pin PMOD_UART2_RTS_Pin PMOD_UART2_TX_Pin PMOD_UART2_RX_Pin */
  GPIO_InitStruct.Pin = PMOD_UART2_CTS_Pin|PMOD_UART2_RTS_Pin|PMOD_UART2_TX_Pin|PMOD_UART2_RX_Pin;
  GPIO_InitStruct.Mode = GPIO_MODE_AF_PP;
  GPIO_InitStruct.Pull = GPIO_NOPULL;
  GPIO_InitStruct.Speed = GPIO_SPEED_FREQ_VERY_HIGH;
  GPIO_InitStruct.Alternate = GPIO_AF7_USART2;
  HAL_GPIO_Init(GPIOD, &GPIO_InitStruct);

  /*Configure GPIO pins : ARD_D15_Pin ARD_D14_Pin */
  GPIO_InitStruct.Pin = ARD_D15_Pin|ARD_D14_Pin;
  GPIO_InitStruct.Mode = GPIO_MODE_AF_OD;
  GPIO_InitStruct.Pull = GPIO_NOPULL;
  GPIO_InitStruct.Speed = GPIO_SPEED_FREQ_VERY_HIGH;
  GPIO_InitStruct.Alternate = GPIO_AF4_I2C1;
  HAL_GPIO_Init(GPIOB, &GPIO_InitStruct);

  /* EXTI interrupt init*/
  HAL_NVIC_SetPriority(EXTI9_5_IRQn, 0, 0);
  HAL_NVIC_EnableIRQ(EXTI9_5_IRQn);

  HAL_NVIC_SetPriority(EXTI15_10_IRQn, 0, 0);
  HAL_NVIC_EnableIRQ(EXTI15_10_IRQn);

}

/* USER CODE BEGIN 4 */

void display_distance(void){
	if (mode == 'g'){
		mode='d';
		dist = VL53L0X_PROXIMITY_GetDistance();
		sprintf(UART1_txBuffer,"%d \r\n",dist);
		HAL_UART_Transmit(&huart1, UART1_txBuffer, sizeof(UART1_txBuffer), 100);
	}
	else if (mode == 'c'){
		mode='d';
		VL53L0X_SetDeviceMode(&Dev, VL53L0X_DEVICEMODE_CONTINUOUS_RANGING);
	}
	else if (mode == 's'){
		mode='d';
		VL53L0X_SetDeviceMode(&Dev,VL53L0X_DEVICEMODE_SINGLE_RANGING);
	}
	else if (mode == 'm'){
		mode='d';
		VL53L0X_DeviceModes device_mode;
		VL53L0X_GetDeviceMode(&Dev, &device_mode);
		if (device_mode == VL53L0X_DEVICEMODE_SINGLE_RANGING){
			HAL_UART_Transmit(&huart1, "Single Mode\r\n", 13, 100);
		}
		else if (device_mode == VL53L0X_DEVICEMODE_CONTINUOUS_RANGING){
			HAL_UART_Transmit(&huart1, "Continuous Mode\r\n", 17, 100);
		}
	}

}

void HAL_UART_RxCpltCallback(UART_HandleTypeDef *huart)
{

//	if(UART1_rxBuffer[0]=='s'){
//		mode='s';
//	}
//	else if (UART1_rxBuffer[0]=='c'){
//		mode='c';}
	mode=UART1_rxBuffer[0];

    HAL_UART_Receive_IT(&huart1, UART1_rxBuffer, sizeof(UART1_rxBuffer));
}

/**
  * @brief  Test of VL53L0X proximity sensor.
  */
//void Proximity_Test(void)
//{
//  uint16_t prox_value = 0;
//
//  printf("\n*************************************************************\n");
//  printf("\n********************** Proximity Test ************************\n");
//  printf("\n*************************************************************\n\n");
//  VL53L0X_PROXIMITY_Init();
//  printf("\n*** Tape n or N to get a first Proximity distance ***\n\n");
//  printf("\n*** Tape q or Q to quit Proximity Test ***\n\n");
//  while(1)
//  {
////    if((ret == 'n') || (ret == 'N'))
////    {
//      printf("\n*** This is a new data ***\n\n");
//      prox_value = VL53L0X_PROXIMITY_GetDistance();
//      printf("DISTANCE is = %d mm \n", prox_value);
//      printf("\n*** This is a new data ***\n\n");
//      printf("\n*** Tape n or N to get a new data ***\n\n");
//      printf("\n*** Tape q or Q to quit Proximity Test ***\n\n");
////    }
////    else if((ret == 'q') || (ret == 'Q'))
////    {
////      printf("\n*** End of Proximity Test ***\n\n");
////      return;
////    }
////    else
////    {
////      printf("\n*** Tape n or N to get a new data ***\n\n");
////      printf("\n*** Tape q or Q to quit Proximity Test ***\n\n");
////    }
//  }
//}

/**
  * @brief  VL53L0X proximity sensor Initialization.
  */
static void VL53L0X_PROXIMITY_Init(void)
{
  uint16_t vl53l0x_id = 0;
  VL53L0X_DeviceInfo_t VL53L0X_DeviceInfo;

  /* Initialize IO interface */
  SENSOR_IO_Init();
  VL53L0X_PROXIMITY_MspInit();

  memset(&VL53L0X_DeviceInfo, 0, sizeof(VL53L0X_DeviceInfo_t));

  if (VL53L0X_ERROR_NONE == VL53L0X_GetDeviceInfo(&Dev, &VL53L0X_DeviceInfo))
  {
    if (VL53L0X_ERROR_NONE == VL53L0X_RdWord(&Dev, VL53L0X_REG_IDENTIFICATION_MODEL_ID, (uint16_t *) &vl53l0x_id))
    {
      if (vl53l0x_id == VL53L0X_ID)
      {
        if (VL53L0X_ERROR_NONE == VL53L0X_DataInit(&Dev))
        {
        	if(VL53L0X_ERROR_NONE == VL53L0X_StaticInit(&Dev))
			{
			  Dev.Present = 1;
			  SetupSingleShot(Dev);
			}
			else
			{
			  printf("VL53L0X Time of Flight Failed to send its ID!\n");
			}
        }
      }
    }
    else
    {
      printf("VL53L0X Time of Flight Failed to Initialize!\n");
    }
  }
  else
  {
    printf("VL53L0X Time of Flight Failed to get infos!\n");
  }
}

/**
  * @brief  Get distance from VL53L0X proximity sensor.
  * @retval Distance in mm
  */
static uint16_t VL53L0X_PROXIMITY_GetDistance(void)
{
  VL53L0X_RangingMeasurementData_t RangingMeasurementData;

  VL53L0X_PerformSingleRangingMeasurement(&Dev, &RangingMeasurementData);

  return RangingMeasurementData.RangeMilliMeter;
}

/**
  * @brief  VL53L0X proximity sensor Msp Initialization.
  */
static void VL53L0X_PROXIMITY_MspInit(void)
{
  GPIO_InitTypeDef GPIO_InitStruct;

  /*Configure GPIO pin : VL53L0X_XSHUT_Pin */
  GPIO_InitStruct.Pin = VL53L0X_XSHUT_Pin;
  GPIO_InitStruct.Mode = GPIO_MODE_OUTPUT_PP;
  GPIO_InitStruct.Pull = GPIO_PULLUP;
  GPIO_InitStruct.Speed = GPIO_SPEED_FREQ_HIGH;
  HAL_GPIO_Init(VL53L0X_XSHUT_GPIO_Port, &GPIO_InitStruct);

  HAL_GPIO_WritePin(VL53L0X_XSHUT_GPIO_Port, VL53L0X_XSHUT_Pin, GPIO_PIN_SET);

  HAL_Delay(1000);
}

uint32_t Serial_Scanf(uint32_t value)
{
  uint16_t tmp = 0;

  tmp = getchar();

  if (tmp > value)
  {
    printf("\n\r  !!! Please enter valid number between 0 and %lu \n", value);
    return 0xFF;
  }
  return tmp;
}
/* USER CODE END 4 */

void Error_Handler(void)
{
  __disable_irq();
  while (1)
  {
  }
}
